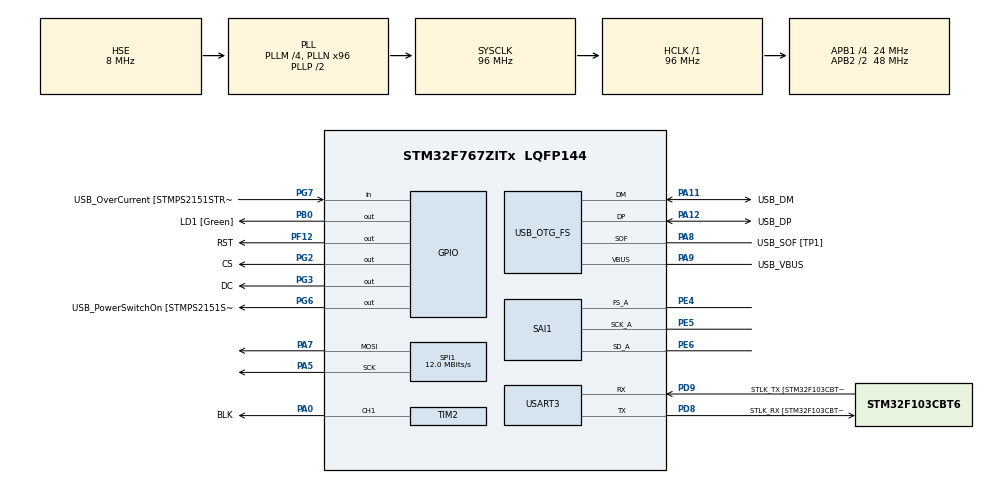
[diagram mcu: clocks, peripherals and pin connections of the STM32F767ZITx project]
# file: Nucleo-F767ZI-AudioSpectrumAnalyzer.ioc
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CORTEX_M7.default_mode_Activation=1
Dma.Request0=SAI1_A
Dma.SAI1_A.0.Direction=DMA_PERIPH_TO_MEMORY
Dma.SAI1_A.0.FIFOMode=DMA_FIFOMODE_DISABLE
Dma.SAI1_A.0.Instance=DMA2_Stream1
Dma.SAI1_A.0.MemDataAlignment=DMA_MDATAALIGN_WORD
Dma.SAI1_A.0.MemInc=DMA_MINC_ENABLE
Dma.SAI1_A.0.Mode=DMA_CIRCULAR
Dma.SAI1_A.0.PeriphDataAlignment=DMA_PDATAALIGN_WORD
Dma.SAI1_A.0.PeriphInc=DMA_PINC_DISABLE
Dma.SAI1_A.0.Priority=DMA_PRIORITY_LOW
Mcu.Family=STM32F7
Mcu.Name=STM32F767ZITx
Mcu.Package=LQFP144
NVIC.DMA2_Stream1_IRQn=true\:0\:0\:false\:false\:true\:false\:true\:true
NVIC.PriorityGroup=NVIC_PRIORITYGROUP_4
PA0/WKUP.GPIO_Label=BLK
PA0/WKUP.Signal=S_TIM2_CH1_ETR
PA10.GPIO_Label=USB_ID
PA10.Signal=USB_OTG_FS_ID
PA11.GPIO_Label=USB_DM
PA11.Mode=Device_Only
PA11.Signal=USB_OTG_FS_DM
PA12.GPIO_Label=USB_DP
PA12.Mode=Device_Only
PA12.Signal=USB_OTG_FS_DP
PA13.GPIO_Label=TMS
PA13.Mode=Serial_Wire
PA13.Signal=SYS_JTMS-SWDIO
PA14.GPIO_Label=TCK
PA14.Mode=Serial_Wire
PA14.Signal=SYS_JTCK-SWCLK
PA5.Mode=TX_Only_Simplex_Unidirect_Master
PA5.Signal=SPI1_SCK
PA7.Mode=TX_Only_Simplex_Unidirect_Master
PA7.Signal=SPI1_MOSI
PA8.GPIO_Label=USB_SOF [TP1]
PA8.Mode=Activate_SOF_FS
PA8.Signal=USB_OTG_FS_SOF
PA9.GPIO_Label=USB_VBUS
PA9.Mode=Activate_VBUS
PA9.Signal=USB_OTG_FS_VBUS
PB0.GPIO_Label=LD1 [Green]
PB0.Signal=GPIO_Output
PB3.GPIO_Label=SWO
PB3.Signal=SYS_JTDO-SWO
PC14/OSC32_IN.Mode=LSE-External-Oscillator
PC14/OSC32_IN.Signal=RCC_OSC32_IN
PC15/OSC32_OUT.Mode=LSE-External-Oscillator
PC15/OSC32_OUT.Signal=RCC_OSC32_OUT
PC3.Signal=I2S2_SD
PD8.GPIO_Label=STLK_RX [STM32F103CBT6_PA3]
PD8.Mode=Asynchronous
PD8.Signal=USART3_TX
PD9.GPIO_Label=STLK_TX [STM32F103CBT6_PA2]
PD9.Mode=Asynchronous
PD9.Signal=USART3_RX
PE4.Mode=SAI_A_Master
PE4.Signal=SAI1_FS_A
PE5.Mode=SAI_A_Master
PE5.Signal=SAI1_SCK_A
PE6.Mode=SAI_A_Master
PE6.Signal=SAI1_SD_A
PF12.GPIO_Label=RST
PF12.Signal=GPIO_Output
PG2.GPIO_Label=CS
PG2.Signal=GPIO_Output
PG3.GPIO_Label=DC
PG3.Signal=GPIO_Output
PG6.GPIO_Label=USB_PowerSwitchOn [STMPS2151STR_EN]
PG6.Signal=GPIO_Output
PG7.GPIO_Label=USB_OverCurrent [STMPS2151STR_FAULT]
PG7.Signal=GPIO_Input
PH0/OSC_IN.GPIO_Label=MCO [STM32F103CBT6_PA8]
PH0/OSC_IN.Mode=HSE-External-Clock-Source
PH0/OSC_IN.Signal=RCC_OSC_IN
PH1/OSC_OUT.Mode=HSE-External-Clock-Source
PH1/OSC_OUT.Signal=RCC_OSC_OUT
ProjectManager.HeapSize=0x200
ProjectManager.StackSize=0x400
ProjectManager.TargetToolchain=STM32CubeIDE
RCC.48MHZClocksFreq_Value=24000000
RCC.AHBFreq_Value=96000000
RCC.APB1CLKDivider=RCC_HCLK_DIV4
RCC.APB1Freq_Value=24000000
RCC.APB1TimFreq_Value=48000000
RCC.APB2CLKDivider=RCC_HCLK_DIV2
RCC.APB2Freq_Value=48000000
RCC.APB2TimFreq_Value=96000000
RCC.CortexFreq_Value=96000000
RCC.HCLKFreq_Value=96000000
RCC.HSE_VALUE=8000000
RCC.HSI_VALUE=16000000
RCC.PLLI2SN=96
RCC.PLLM=4
RCC.PLLMUL=RCC_PLL_MUL9
RCC.PLLN=96
RCC.PLLQ=4
RCC.PLLSAIN=96
RCC.PLLSAIQ=4
RCC.PRESCALERUSB=RCC_USBCLKSOURCE_PLL_DIV1_5
RCC.SYSCLKFreq_VALUE=96000000
RCC.SYSCLKSource=RCC_SYSCLKSOURCE_PLLCLK
RCC.SYSCLKSourceVirtual=RCC_SYSCLKSOURCE_PLLCLK
RCC.USBFreq_Value=48000000
RCC.VCOOutputFreq_Value=192000000
SAI1.AudioFrequency-SAI_A_Master=SAI_AUDIO_FREQUENCY_48K
SAI1.AudioMode-SAI_A_Master=SAI_MODEMASTER_RX
SAI1.BasicDataSize-SAI_A_Master=SAI_PROTOCOL_DATASIZE_24BIT
SAI1.ErrorAudioFreq-SAI_A_Master=-2.34 %
SAI1.InitProtocol-SAI_A_Master=Enable
SAI1.Instance-SAI_A_Master=SAI$Index_Block_A
SAI1.MClockEnable-SAI_A_Master=SAI_MASTERCLOCK_DISABLE
SAI1.MonoStereoMode-SAI_A_Master=SAI_STEREOMODE
SAI1.NoDivider-SAI_A_Master=SAI_MASTERDIVIDER_ENABLE
SAI1.RealAudioFreq-SAI_A_Master=46.875 KHz
SAI1.VirtualMode-SAI_A_Master=VM_MASTER
SAI1.VirtualProtocol-SAI_A_BASIC=VM_BASIC_PROTOCOL
SH.S_TIM2_CH1_ETR.0=TIM2_CH1,PWM Generation1 CH1
SPI1.BaudRatePrescaler=SPI_BAUDRATEPRESCALER_4
SPI1.CLKPhase=SPI_PHASE_2EDGE
SPI1.CLKPolarity=SPI_POLARITY_HIGH
SPI1.CalculateBaudRate=12.0 MBits/s
SPI1.DataSize=SPI_DATASIZE_8BIT
SPI1.Direction=SPI_DIRECTION_2LINES
SPI1.FirstBit=SPI_FIRSTBIT_MSB
SPI1.Mode=SPI_MODE_MASTER
SPI1.VirtualType=VM_MASTER
TIM2.Channel-PWM\ Generation1\ CH1=TIM_CHANNEL_1
TIM2.Period=100-1
TIM2.Prescaler=96-1
USART3.VirtualMode-Asynchronous=VM_ASYNC
USB_OTG_FS.VirtualMode=Device_Only
VP_SAI1_VP_$IpInstance_SAIA_SAI_BASIC.Mode=SAI_A_BASIC
VP_TIM2_VS_ClockSourceINT.Mode=Internal
board=NUCLEO-F767ZI

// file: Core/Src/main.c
/* USER CODE BEGIN Header */
	/**
	  ******************************************************************************
	  * @file           : main.c
	  * @brief          : Main program body
	  ******************************************************************************
	  * @attention
	  *
	  * Copyright (c) 2026 STMicroelectronics.
	  * All rights reserved.
	  *
	  * This software is licensed under terms that can be found in the LICENSE file
	  * in the root directory of this software component.
	  * If no LICENSE file comes with this software, it is provided AS-IS.
	  *
	  ******************************************************************************
	  */
/* USER CODE END Header */
#include "main.h"

/* USER CODE BEGIN Includes */

#include "arm_math.h"
#include "st7789.h"
#include "bitmap.h"
#include "stdio.h"

/* USER CODE END Includes */

/* USER CODE BEGIN PD */

//Change these values to however you like. Make sure they are a factor of AUDIO_BUFFER_SIZE
#define AUDIO_BUFFER_SIZE 1024
#define PROCESSED_AUDIO_SIZE 512
#define AUDIO_CHANNEL_BUFFER_SIZE 256
#define FFT_CHANNEL_BUFFER_SIZE 256
#define FFT_MAGNITUDE_BUFFER_SIZE 128+1 //Includes DC (0Hz) and Nyquist (Sampling Frequency)

#define SAMPLING_FREQUENCY 48000

#define DISPLAY_WIDTH 320	// Important!: Assuming at ST7789_rotation(2); (landscape)
#define DISPLAY_HEIGHT 240	// If rotation is at 1 or 3, it will be portrait (I think)

#define STUCK_PIXEL_CLEAR_MS 60000 // Clears top of display after 60 seconds. Some pixels get stuck
/* USER CODE END PD */

SAI_HandleTypeDef hsai_BlockA1;
DMA_HandleTypeDef hdma_sai1_a;

SPI_HandleTypeDef hspi1;

TIM_HandleTypeDef htim2;

UART_HandleTypeDef huart3;

PCD_HandleTypeDef hpcd_USB_OTG_FS;

/* USER CODE BEGIN PV */

int32_t audioRawBuffer[AUDIO_BUFFER_SIZE];
volatile int32_t *audioBufferPtr;
volatile uint8_t audioBufferReadyFlag;

// L/R -> L = GND | R = 3.3V
static float processedLeftAudio[AUDIO_CHANNEL_BUFFER_SIZE];
static float processedRightAudio[AUDIO_CHANNEL_BUFFER_SIZE]; // for 2 microphones

float fftLeftAudio[FFT_CHANNEL_BUFFER_SIZE];
float fftLeftMagnitude[FFT_MAGNITUDE_BUFFER_SIZE];
float fftRightAudio[FFT_CHANNEL_BUFFER_SIZE];
float fftRightMagnitude[FFT_MAGNITUDE_BUFFER_SIZE];

arm_rfft_fast_instance_f32 fftAudioInstance;

int previousHeight[DISPLAY_WIDTH] = {0};

static uint32_t lastClearTime     = 0;
static int16_t  spectrumMaxHeight = 240;
static int      spectrumTopY      = 0;

/* USER CODE END PV */

void SystemClock_Config(void);
static void MPU_Config(void);
static void MX_GPIO_Init(void);
static void MX_DMA_Init(void);
static void MX_USART3_UART_Init(void);
static void MX_USB_OTG_FS_PCD_Init(void);
static void MX_TIM2_Init(void);
static void MX_SPI1_Init(void);
static void MX_SAI1_Init(void);

/* USER CODE BEGIN 0 */

void HAL_SAI_RxHalfCpltCallback(SAI_HandleTypeDef *hsai)	// DMA Half Buffer complete
{
	audioBufferPtr = &audioRawBuffer[0];

	audioBufferReadyFlag = 1;
}

void HAL_SAI_RxCpltCallback(SAI_HandleTypeDef *hsai)		// DMA Full Buffer complete
{
	audioBufferPtr = &audioRawBuffer[AUDIO_BUFFER_SIZE/2];

	audioBufferReadyFlag = 1;
}

// @brief:			Converts 24 bit audio data to 32 bit format and stores as float
// @param rawAudio:	Pointer to the address of the audio buffer array (audioRawBuffer) set by the DMA
// @param Size:		Size of the buffer (Half of the total buffer because double buffering is being used)
void processAudio(volatile int32_t *rawAudio, int32_t Size)
{
	uint16_t j = 0;

	for(uint16_t i = 0; i < Size; i+=2)
	{
		int32_t left  = rawAudio[i];
		if(left & 0x800000)
		{
			left |= 0xFF000000;
		}
		else
		{
			left &= 0x00FFFFFF;
		}

		int32_t right = rawAudio[i + 1];
		if(right & 0x800000)
		{
			right |= 0xFF000000;
		}
		else
		{
			right &= 0x00FFFFFF;
		}

		processedLeftAudio[j] = (float) left;
		processedRightAudio[j] = (float) right;

		j++;
	}
}

// @brief:			Transforms processed audio data into the frequency domain
// @param input:	Pointer to the address of the processed audio buffer array (processedLeftAudio/processedRightAudio)
// @param fftOut:	Pointer to the address of where the processed data will be stored (fftLeftAudio/fftRightAudio)
void computeFFT(float *input, float *fftOut)
{
    arm_rfft_fast_f32(&fftAudioInstance, input, fftOut, 0);
}

// @brief:			Takes the magnitude of the transformed data and places it into an array
// @param fftOut:	Pointer to the address of the transformed data (fftLeftAudio/fftRightAudio)
// @param mag:		Pointer to the address of the magnitude of the transformed data (fftLeftMagnitude/fftRightMagnitude)
// @Note:			With the way arm_rfft_fast_f32 is coded, the first and last elements of mag is reserved for DC and Nyquist respectively (I think)
void computeMagnitude(float *fftOut, float *mag)
{
    // Bin 0 (DC)
    mag[0] = fabsf(fftOut[0]);

    // Bins 1 → N/2 - 1 // The data we care about
    for (uint16_t i = 1; i < AUDIO_CHANNEL_BUFFER_SIZE/2; i++)
    {
        float real = fftOut[2*i];
        float imag = fftOut[2*i + 1];
        mag[i] = sqrtf(real * real + imag * imag);
    }

    // Bin N/2 (Nyquist)
    mag[AUDIO_CHANNEL_BUFFER_SIZE/2] = fabsf(fftOut[1]);
}

// @brief: Draws the magnitude of the transformed data to the display. Contains configurations to alter how the FFT is displayed.
// @Note:  The FFT will be displayed throughout the entire horizontal part of the screen.
// @Note:  The display has fade functionality meaning the pixels used to draw the FFT data will slowly go down
void drawSpectrum()
{
	//-------------Configurations--------------
    const int16_t speedOfFade = 44;		// How 'fast' the data goes down (i.e. How many pixels each line of the display will turn black for every loop)
    int16_t maxHeight         = 240;	// Maximum height (pixels) the FFT can be drawn onto the display
    const int xOffset         = 0;		// How far from the left (how many pixels starting from the left) the display will start showing data
    const int yOffset         = 9;		// How far from the bottom (how many pixels starting from the bottom) the display will start showing data
    //-----------------------------------------
    if (yOffset + maxHeight > DISPLAY_HEIGHT)
    {
        maxHeight = DISPLAY_HEIGHT - yOffset;
    }

    spectrumMaxHeight = maxHeight; 								// Used by clearStuckPixels function to align with max height
    spectrumTopY = DISPLAY_HEIGHT - 1 - yOffset - maxHeight;	// Used by clearStuckPixels function to align with yOffset

    // Find the peak bin (skip DC bin)
    static uint32_t lastPeakUpdateTime = 0;
    static float    peakFrequency      = 0.0f;

    uint32_t now = HAL_GetTick(); // Peak frequency drawing part
    if ((now - lastPeakUpdateTime) >= 1000)
    {
        int   peakBin = 1;
        float peakMag = fftLeftMagnitude[1] + fftRightMagnitude[1];
        for (int i = 2; i < FFT_MAGNITUDE_BUFFER_SIZE; i++)
        {
            float mag = fftLeftMagnitude[i] + fftRightMagnitude[i];
            if (mag > peakMag)
            {
                peakMag = mag;
                peakBin = i;
            }
        }
        peakFrequency      = (float)peakBin * ((float)SAMPLING_FREQUENCY / FFT_CHANNEL_BUFFER_SIZE);
        lastPeakUpdateTime = now;

        char msg[64];
        sprintf(msg, "Peak Frequency: %.1f", peakFrequency);
        ST7789_FillRect(320-56, 240-9, 56, 9, ST7789_BLACK); //Just guessing
        ST7789_print(154, 240-9, ST7789_WHITE, ST7789_BLUE, 0, &Font_7x9, 1, msg);
    }

    //Utilizing how many bins (size of the number of FFT data) in FFT data to spread out to the display
    int16_t frequencyToPixel;
    float pixelsPerBin = (float)DISPLAY_WIDTH / (FFT_MAGNITUDE_BUFFER_SIZE - 1);

    for (int i = 1; i < FFT_MAGNITUDE_BUFFER_SIZE; i++)
    {
        float bothMag = fftLeftMagnitude[i] + fftRightMagnitude[i];

        frequencyToPixel = (int16_t)((bothMag / 8388608.0f) * maxHeight); 	// Microphone used (INMP441) utilizes 24 bit data. Divide by 2^23
        if (frequencyToPixel < 0)         frequencyToPixel = 0; 			// Clamping: Pixels cannot go out of bounds of display
        if (frequencyToPixel > maxHeight) frequencyToPixel = maxHeight;		// Clamping

        for (int px = 0; px < (int)pixelsPerBin; px++) 						// Display drawing part
        {
            int x = xOffset + (int)(i * pixelsPerBin + px);
            if (x < 0 || x >= DISPLAY_WIDTH) continue;

            int barBottom = DISPLAY_HEIGHT - 1 - yOffset;
            int prev      = previousHeight[x];
            int barTop    = barBottom - prev;
            int newBarTop = barBottom - frequencyToPixel;

            if (frequencyToPixel >= prev) 									// Part where pixels are drawn
            {
                ST7789_DrawLine(x, newBarTop, x, barTop, ST7789_WHITE);
                previousHeight[x] = frequencyToPixel;
            }
            else 															// Part where pixels are 'erased' (drawn black)
            {
                int newHeight = prev - speedOfFade;
                if (newHeight < 0) newHeight = 0;

                int fadeTop = barBottom - newHeight;

                ST7789_DrawLine(x, barTop, x, fadeTop - 1, ST7789_BLACK);
                previousHeight[x] = newHeight;
            }
        }
    }
}

// @brief: Fills the top third of the FFT area with a color (black) after 60 seconds to combat pixels getting 'stuck' (staying white)
void clearStuckPixels()
{
    uint32_t now = HAL_GetTick();
    if ((now - lastClearTime) > STUCK_PIXEL_CLEAR_MS)
    {
    	ST7789_FillRect(0, 0, DISPLAY_WIDTH, spectrumMaxHeight / 3, ST7789_BLACK);
    	memset(previousHeight, 0, sizeof(previousHeight));
        lastClearTime = now;
    }
}

/* USER CODE END 0 */

int main(void)
{

  /* MPU Configuration--------------------------------------------------------*/
  MPU_Config();

  /* MCU Configuration--------------------------------------------------------*/

  /* Reset of all peripherals, Initializes the Flash interface and the Systick. */
  HAL_Init();

  /* Configure the system clock */
  SystemClock_Config();

  /* Initialize all configured peripherals */
  MX_GPIO_Init();
  MX_DMA_Init();
  MX_USART3_UART_Init();
  MX_USB_OTG_FS_PCD_Init();
  MX_TIM2_Init();
  MX_SPI1_Init();
  MX_SAI1_Init();
  /* USER CODE BEGIN 2 */

  HAL_SAI_Receive_DMA(&hsai_BlockA1, (uint8_t *)audioRawBuffer, AUDIO_BUFFER_SIZE);

  arm_rfft_fast_init_f32(&fftAudioInstance, FFT_CHANNEL_BUFFER_SIZE);

  ST7789_Init();
  ST7789_rotation(2);
  ST7789_print(0, 240-9, ST7789_WHITE, ST7789_BLUE, 0, &Font_7x9, 1, "0-24KHz");

  /* USER CODE END 2 */

  /* Infinite loop */
  /* USER CODE BEGIN WHILE */
	while (1)
	{
		if(audioBufferReadyFlag)
		{
			audioBufferReadyFlag = 0;
			processAudio(audioBufferPtr, PROCESSED_AUDIO_SIZE);

			computeFFT(processedLeftAudio, fftLeftAudio);
			computeMagnitude(fftLeftAudio, fftLeftMagnitude);

			computeFFT(processedRightAudio, fftRightAudio);
			computeMagnitude(fftRightAudio, fftRightMagnitude);

			clearStuckPixels();
			drawSpectrum();

			// Show raw data through UART
			/*
			for (int i = 0; i < 16; i++)
			{
			    char msg[128];

			    int32_t left  = (int32_t)processedLeftAudio[i];
			    int32_t right = (int32_t)processedRightAudio[i];

			    int len = sprintf(msg, "L:%ld R:%10ld\r\n", left, right);
			    HAL_UART_Transmit(&huart3, (uint8_t*)msg, len, HAL_MAX_DELAY);
			}
			*/

			// Show FFT data through UART
			/*
			for (int i = 1; i < FFT_MAGNITUDE_BUFFER_SIZE; i++)
			{
				char msg[128];

			    float leftMag  = fftLeftMagnitude[i];
			    float rightMag = fftRightMagnitude[i];

			    float freq = (float)i * SAMPLING_FREQUENCY / AUDIO_CHANNEL_BUFFER_SIZE;

			    int len = sprintf(msg, "%.2f \t %.2f \t %.2f\r\n", freq, leftMag, rightMag);

			    HAL_UART_Transmit(&huart3, (uint8_t*)msg, len, HAL_MAX_DELAY);
			}
			*/
		}

    /* USER CODE END WHILE */

	}
}

void SystemClock_Config(void)
{
  RCC_OscInitTypeDef RCC_OscInitStruct = {0};
  RCC_ClkInitTypeDef RCC_ClkInitStruct = {0};

  /** Configure LSE Drive Capability
  */
  HAL_PWR_EnableBkUpAccess();

  /** Configure the main internal regulator output voltage
  */
  __HAL_RCC_PWR_CLK_ENABLE();
  __HAL_PWR_VOLTAGESCALING_CONFIG(PWR_REGULATOR_VOLTAGE_SCALE3);

  /** Initializes the RCC Oscillators according to the specified parameters
  * in the RCC_OscInitTypeDef structure.
  */
  RCC_OscInitStruct.OscillatorType = RCC_OSCILLATORTYPE_HSE;
  RCC_OscInitStruct.HSEState = RCC_HSE_BYPASS;
  RCC_OscInitStruct.PLL.PLLState = RCC_PLL_ON;
  RCC_OscInitStruct.PLL.PLLSource = RCC_PLLSOURCE_HSE;
  RCC_OscInitStruct.PLL.PLLM = 4;
  RCC_OscInitStruct.PLL.PLLN = 96;
  RCC_OscInitStruct.PLL.PLLP = RCC_PLLP_DIV2;
  RCC_OscInitStruct.PLL.PLLQ = 4;
  RCC_OscInitStruct.PLL.PLLR = 2;
  if (HAL_RCC_OscConfig(&RCC_OscInitStruct) != HAL_OK)
  {
    Error_Handler();
  }

  /** Initializes the CPU, AHB and APB buses clocks
  */
  RCC_ClkInitStruct.ClockType = RCC_CLOCKTYPE_HCLK|RCC_CLOCKTYPE_SYSCLK
                              |RCC_CLOCKTYPE_PCLK1|RCC_CLOCKTYPE_PCLK2;
  RCC_ClkInitStruct.SYSCLKSource = RCC_SYSCLKSOURCE_PLLCLK;
  RCC_ClkInitStruct.AHBCLKDivider = RCC_SYSCLK_DIV1;
  RCC_ClkInitStruct.APB1CLKDivider = RCC_HCLK_DIV4;
  RCC_ClkInitStruct.APB2CLKDivider = RCC_HCLK_DIV2;

  if (HAL_RCC_ClockConfig(&RCC_ClkInitStruct, FLASH_LATENCY_3) != HAL_OK)
  {
    Error_Handler();
  }
}

static void MX_SAI1_Init(void)
{

  hsai_BlockA1.Instance = SAI1_Block_A;
  hsai_BlockA1.Init.AudioMode = SAI_MODEMASTER_RX;
  hsai_BlockA1.Init.Synchro = SAI_ASYNCHRONOUS;
  hsai_BlockA1.Init.OutputDrive = SAI_OUTPUTDRIVE_DISABLE;
  hsai_BlockA1.Init.NoDivider = SAI_MASTERDIVIDER_ENABLE;
  hsai_BlockA1.Init.FIFOThreshold = SAI_FIFOTHRESHOLD_EMPTY;
  hsai_BlockA1.Init.AudioFrequency = SAI_AUDIO_FREQUENCY_48K;
  hsai_BlockA1.Init.SynchroExt = SAI_SYNCEXT_DISABLE;
  hsai_BlockA1.Init.MonoStereoMode = SAI_STEREOMODE;
  hsai_BlockA1.Init.CompandingMode = SAI_NOCOMPANDING;
  if (HAL_SAI_InitProtocol(&hsai_BlockA1, SAI_I2S_STANDARD, SAI_PROTOCOL_DATASIZE_24BIT, 2) != HAL_OK)
  {
    Error_Handler();
  }

}

static void MX_SPI1_Init(void)
{

  /* SPI1 parameter configuration*/
  hspi1.Instance = SPI1;
  hspi1.Init.Mode = SPI_MODE_MASTER;
  hspi1.Init.Direction = SPI_DIRECTION_2LINES;
  hspi1.Init.DataSize = SPI_DATASIZE_8BIT;
  hspi1.Init.CLKPolarity = SPI_POLARITY_HIGH;
  hspi1.Init.CLKPhase = SPI_PHASE_2EDGE;
  hspi1.Init.NSS = SPI_NSS_SOFT;
  hspi1.Init.BaudRatePrescaler = SPI_BAUDRATEPRESCALER_4;
  hspi1.Init.FirstBit = SPI_FIRSTBIT_MSB;
  hspi1.Init.TIMode = SPI_TIMODE_DISABLE;
  hspi1.Init.CRCCalculation = SPI_CRCCALCULATION_DISABLE;
  hspi1.Init.CRCPolynomial = 7;
  hspi1.Init.CRCLength = SPI_CRC_LENGTH_DATASIZE;
  hspi1.Init.NSSPMode = SPI_NSS_PULSE_DISABLE;
  if (HAL_SPI_Init(&hspi1) != HAL_OK)
  {
    Error_Handler();
  }

}

static void MX_TIM2_Init(void)
{

  TIM_ClockConfigTypeDef sClockSourceConfig = {0};
  TIM_MasterConfigTypeDef sMasterConfig = {0};
  TIM_OC_InitTypeDef sConfigOC = {0};

  htim2.Instance = TIM2;
  htim2.Init.Prescaler = 96-1;
  htim2.Init.CounterMode = TIM_COUNTERMODE_UP;
  htim2.Init.Period = 100-1;
  htim2.Init.ClockDivision = TIM_CLOCKDIVISION_DIV1;
  htim2.Init.AutoReloadPreload = TIM_AUTORELOAD_PRELOAD_DISABLE;
  if (HAL_TIM_Base_Init(&htim2) != HAL_OK)
  {
    Error_Handler();
  }
  sClockSourceConfig.ClockSource = TIM_CLOCKSOURCE_INTERNAL;
  if (HAL_TIM_ConfigClockSource(&htim2, &sClockSourceConfig) != HAL_OK)
  {
    Error_Handler();
  }
  if (HAL_TIM_PWM_Init(&htim2) != HAL_OK)
  {
    Error_Handler();
  }
  sMasterConfig.MasterOutputTrigger = TIM_TRGO_RESET;
  sMasterConfig.MasterSlaveMode = TIM_MASTERSLAVEMODE_DISABLE;
  if (HAL_TIMEx_MasterConfigSynchronization(&htim2, &sMasterConfig) != HAL_OK)
  {
    Error_Handler();
  }
  sConfigOC.OCMode = TIM_OCMODE_PWM1;
  sConfigOC.Pulse = 0;
  sConfigOC.OCPolarity = TIM_OCPOLARITY_HIGH;
  sConfigOC.OCFastMode = TIM_OCFAST_DISABLE;
  if (HAL_TIM_PWM_ConfigChannel(&htim2, &sConfigOC, TIM_CHANNEL_1) != HAL_OK)
  {
    Error_Handler();
  }
  HAL_TIM_MspPostInit(&htim2);

}

static void MX_USART3_UART_Init(void)
{

  huart3.Instance = USART3;
  huart3.Init.BaudRate = 115200;
  huart3.Init.WordLength = UART_WORDLENGTH_8B;
  huart3.Init.StopBits = UART_STOPBITS_1;
  huart3.Init.Parity = UART_PARITY_NONE;
  huart3.Init.Mode = UART_MODE_TX_RX;
  huart3.Init.HwFlowCtl = UART_HWCONTROL_NONE;
  huart3.Init.OverSampling = UART_OVERSAMPLING_16;
  huart3.Init.OneBitSampling = UART_ONE_BIT_SAMPLE_DISABLE;
  huart3.AdvancedInit.AdvFeatureInit = UART_ADVFEATURE_NO_INIT;
  if (HAL_UART_Init(&huart3) != HAL_OK)
  {
    Error_Handler();
  }

}

static void MX_USB_OTG_FS_PCD_Init(void)
{

  hpcd_USB_OTG_FS.Instance = USB_OTG_FS;
  hpcd_USB_OTG_FS.Init.dev_endpoints = 6;
  hpcd_USB_OTG_FS.Init.speed = PCD_SPEED_FULL;
  hpcd_USB_OTG_FS.Init.dma_enable = DISABLE;
  hpcd_USB_OTG_FS.Init.phy_itface = PCD_PHY_EMBEDDED;
  hpcd_USB_OTG_FS.Init.Sof_enable = ENABLE;
  hpcd_USB_OTG_FS.Init.low_power_enable = DISABLE;
  hpcd_USB_OTG_FS.Init.lpm_enable = DISABLE;
  hpcd_USB_OTG_FS.Init.vbus_sensing_enable = ENABLE;
  hpcd_USB_OTG_FS.Init.use_dedicated_ep1 = DISABLE;
  if (HAL_PCD_Init(&hpcd_USB_OTG_FS) != HAL_OK)
  {
    Error_Handler();
  }

}

static void MX_DMA_Init(void)
{

  /* DMA controller clock enable */
  __HAL_RCC_DMA2_CLK_ENABLE();

  /* DMA interrupt init */
  /* DMA2_Stream1_IRQn interrupt configuration */
  HAL_NVIC_SetPriority(DMA2_Stream1_IRQn, 0, 0);
  HAL_NVIC_EnableIRQ(DMA2_Stream1_IRQn);

}

static void MX_GPIO_Init(void)
{
  GPIO_InitTypeDef GPIO_InitStruct = {0};

  /* GPIO Ports Clock Enable */
  __HAL_RCC_GPIOE_CLK_ENABLE();
  __HAL_RCC_GPIOC_CLK_ENABLE();
  __HAL_RCC_GPIOH_CLK_ENABLE();
  __HAL_RCC_GPIOA_CLK_ENABLE();
  __HAL_RCC_GPIOB_CLK_ENABLE();
  __HAL_RCC_GPIOF_CLK_ENABLE();
  __HAL_RCC_GPIOD_CLK_ENABLE();
  __HAL_RCC_GPIOG_CLK_ENABLE();

  /*Configure GPIO pin Output Level */
  HAL_GPIO_WritePin(LD1_GPIO_Port, LD1_Pin, GPIO_PIN_RESET);

  /*Configure GPIO pin Output Level */
  HAL_GPIO_WritePin(RST_GPIO_Port, RST_Pin, GPIO_PIN_RESET);

  /*Configure GPIO pin Output Level */
  HAL_GPIO_WritePin(GPIOG, CS_Pin|DC_Pin|USB_PowerSwitchOn_Pin, GPIO_PIN_RESET);

  /*Configure GPIO pin : PC3 */
  GPIO_InitStruct.Pin = GPIO_PIN_3;
  GPIO_InitStruct.Mode = GPIO_MODE_AF_PP;
  GPIO_InitStruct.Pull = GPIO_NOPULL;
  GPIO_InitStruct.Speed = GPIO_SPEED_FREQ_LOW;
  GPIO_InitStruct.Alternate = GPIO_AF5_SPI2;
  HAL_GPIO_Init(GPIOC, &GPIO_InitStruct);

  /*Configure GPIO pin : LD1_Pin */
  GPIO_InitStruct.Pin = LD1_Pin;
  GPIO_InitStruct.Mode = GPIO_MODE_OUTPUT_PP;
  GPIO_InitStruct.Pull = GPIO_NOPULL;
  GPIO_InitStruct.Speed = GPIO_SPEED_FREQ_LOW;
  HAL_GPIO_Init(LD1_GPIO_Port, &GPIO_InitStruct);

  /*Configure GPIO pin : RST_Pin */
  GPIO_InitStruct.Pin = RST_Pin;
  GPIO_InitStruct.Mode = GPIO_MODE_OUTPUT_PP;
  GPIO_InitStruct.Pull = GPIO_NOPULL;
  GPIO_InitStruct.Speed = GPIO_SPEED_FREQ_LOW;
  HAL_GPIO_Init(RST_GPIO_Port, &GPIO_InitStruct);

  /*Configure GPIO pins : CS_Pin DC_Pin USB_PowerSwitchOn_Pin */
  GPIO_InitStruct.Pin = CS_Pin|DC_Pin|USB_PowerSwitchOn_Pin;
  GPIO_InitStruct.Mode = GPIO_MODE_OUTPUT_PP;
  GPIO_InitStruct.Pull = GPIO_NOPULL;
  GPIO_InitStruct.Speed = GPIO_SPEED_FREQ_LOW;
  HAL_GPIO_Init(GPIOG, &GPIO_InitStruct);

  /*Configure GPIO pin : USB_OverCurrent_Pin */
  GPIO_InitStruct.Pin = USB_OverCurrent_Pin;
  GPIO_InitStruct.Mode = GPIO_MODE_INPUT;
  GPIO_InitStruct.Pull = GPIO_NOPULL;
  HAL_GPIO_Init(USB_OverCurrent_GPIO_Port, &GPIO_InitStruct);

}

 /* MPU Configuration */

void MPU_Config(void)
{
  MPU_Region_InitTypeDef MPU_InitStruct = {0};

  /* Disables the MPU */
  HAL_MPU_Disable();

  /** Initializes and configures the Region and the memory to be protected
  */
  MPU_InitStruct.Enable = MPU_REGION_ENABLE;
  MPU_InitStruct.Number = MPU_REGION_NUMBER0;
  MPU_InitStruct.BaseAddress = 0x0;
  MPU_InitStruct.Size = MPU_REGION_SIZE_4GB;
  MPU_InitStruct.SubRegionDisable = 0x87;
  MPU_InitStruct.TypeExtField = MPU_TEX_LEVEL0;
  MPU_InitStruct.AccessPermission = MPU_REGION_NO_ACCESS;
  MPU_InitStruct.DisableExec = MPU_INSTRUCTION_ACCESS_DISABLE;
  MPU_InitStruct.IsShareable = MPU_ACCESS_SHAREABLE;
  MPU_InitStruct.IsCacheable = MPU_ACCESS_NOT_CACHEABLE;
  MPU_InitStruct.IsBufferable = MPU_ACCESS_NOT_BUFFERABLE;

  HAL_MPU_ConfigRegion(&MPU_InitStruct);
  /* Enables the MPU */
  HAL_MPU_Enable(MPU_PRIVILEGED_DEFAULT);

}

void Error_Handler(void)
{
	  __disable_irq();
	  while (1)
	  {
	  }
}
